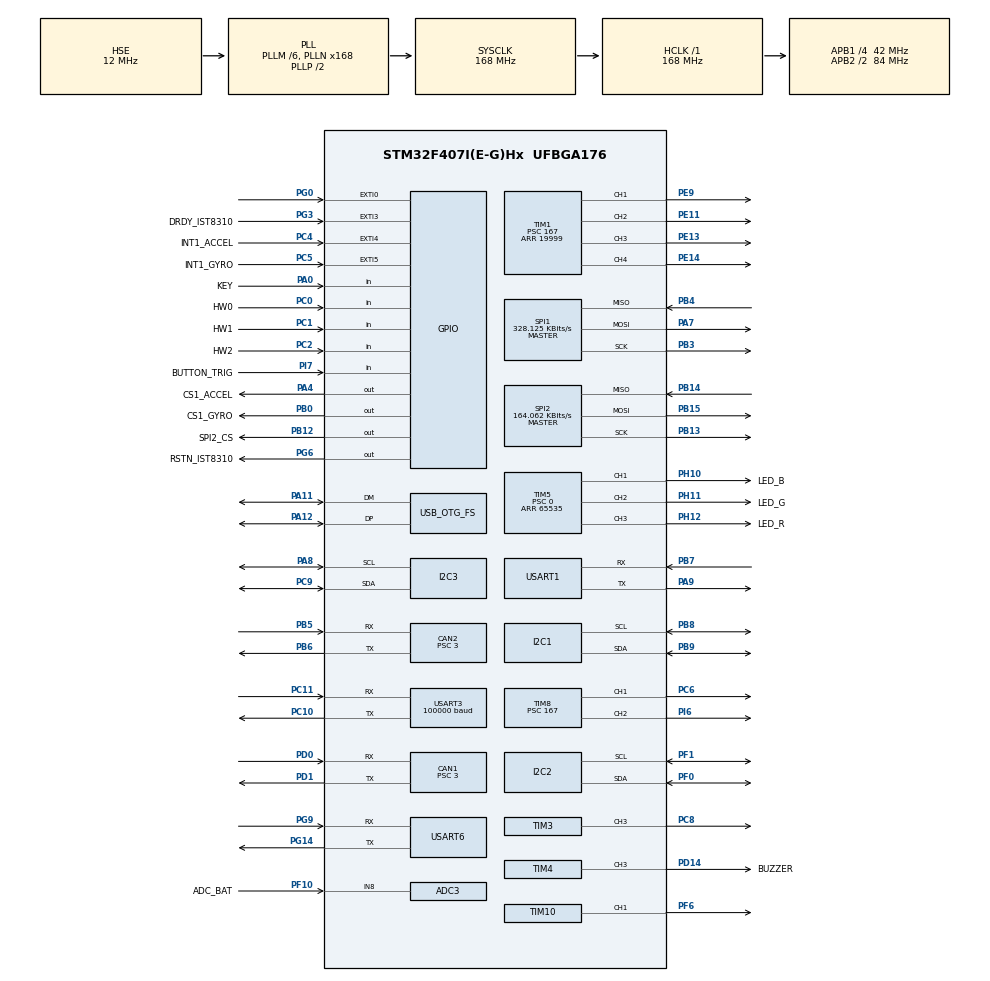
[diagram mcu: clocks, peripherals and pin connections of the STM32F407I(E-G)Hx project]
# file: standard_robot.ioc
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ADC1.Channel-0\#ChannelRegularConversion=ADC_CHANNEL_TEMPSENSOR
ADC1.ClockPrescaler=ADC_CLOCK_SYNC_PCLK_DIV6
ADC1.NbrOfConversionFlag=1
ADC1.Rank-0\#ChannelRegularConversion=1
ADC1.SamplingTime-0\#ChannelRegularConversion=ADC_SAMPLETIME_3CYCLES
ADC1.master=1
ADC3.Channel-0\#ChannelRegularConversion=ADC_CHANNEL_8
ADC3.ClockPrescaler=ADC_CLOCK_SYNC_PCLK_DIV6
ADC3.NbrOfConversionFlag=1
ADC3.Rank-0\#ChannelRegularConversion=1
ADC3.SamplingTime-0\#ChannelRegularConversion=ADC_SAMPLETIME_3CYCLES
CAN1.BS1=CAN_BS1_10TQ
CAN1.BS2=CAN_BS2_3TQ
CAN1.CalculateTimeQuantum=71.42857142857143
CAN1.Prescaler=3
CAN2.BS1=CAN_BS1_10TQ
CAN2.BS2=CAN_BS2_3TQ
CAN2.CalculateTimeQuantum=71.42857142857143
CAN2.Prescaler=3
Dma.I2C2_TX.2.Direction=DMA_MEMORY_TO_PERIPH
Dma.I2C2_TX.2.FIFOMode=DMA_FIFOMODE_DISABLE
Dma.I2C2_TX.2.Instance=DMA1_Stream7
Dma.I2C2_TX.2.MemDataAlignment=DMA_MDATAALIGN_BYTE
Dma.I2C2_TX.2.MemInc=DMA_MINC_ENABLE
Dma.I2C2_TX.2.Mode=DMA_NORMAL
Dma.I2C2_TX.2.PeriphDataAlignment=DMA_PDATAALIGN_BYTE
Dma.I2C2_TX.2.PeriphInc=DMA_PINC_DISABLE
Dma.I2C2_TX.2.Priority=DMA_PRIORITY_HIGH
Dma.Request0=SPI1_RX
Dma.Request1=SPI1_TX
Dma.Request2=I2C2_TX
Dma.Request3=USART3_RX
Dma.Request4=USART6_RX
Dma.Request5=USART6_TX
Dma.Request6=USART1_TX
Dma.Request7=USART1_RX
Dma.SPI1_RX.0.Direction=DMA_PERIPH_TO_MEMORY
Dma.SPI1_RX.0.FIFOMode=DMA_FIFOMODE_DISABLE
Dma.SPI1_RX.0.Instance=DMA2_Stream2
Dma.SPI1_RX.0.MemDataAlignment=DMA_MDATAALIGN_BYTE
Dma.SPI1_RX.0.MemInc=DMA_MINC_ENABLE
Dma.SPI1_RX.0.Mode=DMA_NORMAL
Dma.SPI1_RX.0.PeriphDataAlignment=DMA_PDATAALIGN_BYTE
Dma.SPI1_RX.0.PeriphInc=DMA_PINC_DISABLE
Dma.SPI1_RX.0.Priority=DMA_PRIORITY_VERY_HIGH
Dma.SPI1_TX.1.Direction=DMA_MEMORY_TO_PERIPH
Dma.SPI1_TX.1.FIFOMode=DMA_FIFOMODE_DISABLE
Dma.SPI1_TX.1.Instance=DMA2_Stream3
Dma.SPI1_TX.1.MemDataAlignment=DMA_MDATAALIGN_BYTE
Dma.SPI1_TX.1.MemInc=DMA_MINC_ENABLE
Dma.SPI1_TX.1.Mode=DMA_NORMAL
Dma.SPI1_TX.1.PeriphDataAlignment=DMA_PDATAALIGN_BYTE
Dma.SPI1_TX.1.PeriphInc=DMA_PINC_DISABLE
Dma.SPI1_TX.1.Priority=DMA_PRIORITY_HIGH
Dma.USART1_RX.7.Direction=DMA_PERIPH_TO_MEMORY
Dma.USART1_RX.7.FIFOMode=DMA_FIFOMODE_DISABLE
Dma.USART1_RX.7.Instance=DMA2_Stream5
Dma.USART1_RX.7.MemDataAlignment=DMA_MDATAALIGN_BYTE
Dma.USART1_RX.7.MemInc=DMA_MINC_ENABLE
Dma.USART1_RX.7.Mode=DMA_NORMAL
Dma.USART1_RX.7.PeriphDataAlignment=DMA_PDATAALIGN_BYTE
Dma.USART1_RX.7.PeriphInc=DMA_PINC_DISABLE
Dma.USART1_RX.7.Priority=DMA_PRIORITY_HIGH
Dma.USART1_TX.6.Direction=DMA_MEMORY_TO_PERIPH
Dma.USART1_TX.6.FIFOMode=DMA_FIFOMODE_DISABLE
Dma.USART1_TX.6.Instance=DMA2_Stream7
Dma.USART1_TX.6.MemDataAlignment=DMA_MDATAALIGN_BYTE
Dma.USART1_TX.6.MemInc=DMA_MINC_ENABLE
Dma.USART1_TX.6.Mode=DMA_NORMAL
Dma.USART1_TX.6.PeriphDataAlignment=DMA_PDATAALIGN_BYTE
Dma.USART1_TX.6.PeriphInc=DMA_PINC_DISABLE
Dma.USART1_TX.6.Priority=DMA_PRIORITY_MEDIUM
Dma.USART3_RX.3.Direction=DMA_PERIPH_TO_MEMORY
Dma.USART3_RX.3.FIFOMode=DMA_FIFOMODE_DISABLE
Dma.USART3_RX.3.Instance=DMA1_Stream1
Dma.USART3_RX.3.MemDataAlignment=DMA_MDATAALIGN_BYTE
Dma.USART3_RX.3.MemInc=DMA_MINC_ENABLE
Dma.USART3_RX.3.Mode=DMA_NORMAL
Dma.USART3_RX.3.PeriphDataAlignment=DMA_PDATAALIGN_BYTE
Dma.USART3_RX.3.PeriphInc=DMA_PINC_DISABLE
Dma.USART3_RX.3.Priority=DMA_PRIORITY_HIGH
Dma.USART6_RX.4.Direction=DMA_PERIPH_TO_MEMORY
Dma.USART6_RX.4.FIFOMode=DMA_FIFOMODE_DISABLE
Dma.USART6_RX.4.Instance=DMA2_Stream1
Dma.USART6_RX.4.MemDataAlignment=DMA_MDATAALIGN_BYTE
Dma.USART6_RX.4.MemInc=DMA_MINC_ENABLE
Dma.USART6_RX.4.Mode=DMA_NORMAL
Dma.USART6_RX.4.PeriphDataAlignment=DMA_PDATAALIGN_BYTE
Dma.USART6_RX.4.PeriphInc=DMA_PINC_DISABLE
Dma.USART6_RX.4.Priority=DMA_PRIORITY_HIGH
Dma.USART6_TX.5.Direction=DMA_MEMORY_TO_PERIPH
Dma.USART6_TX.5.FIFOMode=DMA_FIFOMODE_DISABLE
Dma.USART6_TX.5.Instance=DMA2_Stream6
Dma.USART6_TX.5.MemDataAlignment=DMA_MDATAALIGN_BYTE
Dma.USART6_TX.5.MemInc=DMA_MINC_ENABLE
Dma.USART6_TX.5.Mode=DMA_NORMAL
Dma.USART6_TX.5.PeriphDataAlignment=DMA_PDATAALIGN_BYTE
Dma.USART6_TX.5.PeriphInc=DMA_PINC_DISABLE
Dma.USART6_TX.5.Priority=DMA_PRIORITY_MEDIUM
FREERTOS.INCLUDE_eTaskGetState=1
FREERTOS.INCLUDE_pcTaskGetTaskName=1
FREERTOS.INCLUDE_uxTaskGetStackHighWaterMark=1
FREERTOS.INCLUDE_vTaskCleanUpResources=1
FREERTOS.INCLUDE_vTaskDelayUntil=1
FREERTOS.INCLUDE_xEventGroupSetBitFromISR=1
FREERTOS.INCLUDE_xQueueGetMutexHolder=1
FREERTOS.INCLUDE_xSemaphoreGetMutexHolder=1
FREERTOS.INCLUDE_xTaskAbortDelay=1
FREERTOS.INCLUDE_xTaskGetCurrentTaskHandle=1
FREERTOS.INCLUDE_xTaskGetHandle=1
FREERTOS.INCLUDE_xTimerPendFunctionCall=1
FREERTOS.Tasks01=test,24,128,test_task,As weak,NULL,Dynamic,NULL,NULL
FREERTOS.configTOTAL_HEAP_SIZE=24576
I2C1.I2C_Mode=I2C_Fast
I2C2.I2C_Mode=I2C_Fast
I2C3.I2C_Mode=I2C_Fast
Mcu.Family=STM32F4
Mcu.Name=STM32F407I(E-G)Hx
Mcu.Package=UFBGA176
NVIC.CAN1_RX0_IRQn=true\:6\:0\:true\:false\:true\:true\:true\:true\:true
NVIC.CAN2_RX0_IRQn=true\:6\:0\:true\:false\:true\:true\:true\:true\:true
NVIC.DMA1_Stream1_IRQn=true\:5\:0\:true\:false\:false\:true\:false\:false\:true
NVIC.DMA1_Stream7_IRQn=true\:5\:0\:true\:false\:false\:true\:false\:true\:true
NVIC.DMA2_Stream1_IRQn=true\:5\:0\:true\:false\:true\:true\:false\:true\:true
NVIC.DMA2_Stream2_IRQn=true\:5\:0\:true\:false\:false\:true\:false\:true\:true
NVIC.DMA2_Stream3_IRQn=true\:5\:0\:true\:false\:false\:true\:false\:true\:true
NVIC.DMA2_Stream5_IRQn=true\:5\:0\:false\:false\:true\:true\:false\:true\:true
NVIC.DMA2_Stream6_IRQn=true\:5\:0\:true\:false\:true\:true\:false\:true\:true
NVIC.DMA2_Stream7_IRQn=true\:5\:0\:true\:false\:true\:true\:false\:true\:true
NVIC.EXTI0_IRQn=true\:6\:0\:true\:false\:true\:true\:true\:true\:true
NVIC.EXTI3_IRQn=true\:5\:0\:true\:false\:true\:true\:true\:true\:true
NVIC.EXTI4_IRQn=true\:5\:0\:true\:false\:true\:true\:true\:true\:true
NVIC.EXTI9_5_IRQn=true\:5\:0\:true\:false\:true\:true\:true\:true\:true
NVIC.OTG_FS_IRQn=true\:5\:0\:false\:false\:true\:true\:false\:true\:true
NVIC.PriorityGroup=NVIC_PRIORITYGROUP_4
NVIC.USART1_IRQn=true\:5\:0\:false\:false\:true\:true\:true\:true\:true
NVIC.USART3_IRQn=true\:4\:0\:true\:false\:false\:false\:true\:true\:true
NVIC.USART6_IRQn=true\:5\:0\:true\:false\:false\:true\:true\:true\:true
PA0-WKUP.GPIO_Label=KEY
PA0-WKUP.GPIO_PuPd=GPIO_PULLUP
PA0-WKUP.Signal=GPIO_Input
PA11.Mode=Device_Only
PA11.Signal=USB_OTG_FS_DM
PA12.Mode=Device_Only
PA12.Signal=USB_OTG_FS_DP
PA13.Mode=Serial_Wire
PA13.Signal=SYS_JTMS-SWDIO
PA14.Mode=Serial_Wire
PA14.Signal=SYS_JTCK-SWCLK
PA4.GPIO_Label=CS1_ACCEL
PA4.GPIO_PuPd=GPIO_PULLUP
PA4.GPIO_Speed=GPIO_SPEED_FREQ_HIGH
PA4.PinState=GPIO_PIN_SET
PA4.Signal=GPIO_Output
PA7.GPIO_PuPd=GPIO_PULLUP
PA7.Mode=Full_Duplex_Master
PA7.Signal=SPI1_MOSI
PA8.Mode=I2C
PA8.Signal=I2C3_SCL
PA9.Mode=Asynchronous
PA9.Signal=USART1_TX
PB0.GPIO_Label=CS1_GYRO
PB0.GPIO_PuPd=GPIO_PULLUP
PB0.GPIO_Speed=GPIO_SPEED_FREQ_HIGH
PB0.PinState=GPIO_PIN_SET
PB0.Signal=GPIO_Output
PB12.GPIO_Label=SPI2_CS
PB12.GPIO_PuPd=GPIO_PULLUP
PB12.GPIO_Speed=GPIO_SPEED_FREQ_MEDIUM
PB12.PinState=GPIO_PIN_SET
PB12.Signal=GPIO_Output
PB13.GPIO_PuPd=GPIO_PULLUP
PB13.Mode=Full_Duplex_Master
PB13.Signal=SPI2_SCK
PB14.GPIO_PuPd=GPIO_PULLUP
PB14.Mode=Full_Duplex_Master
PB14.Signal=SPI2_MISO
PB15.GPIO_PuPd=GPIO_PULLUP
PB15.Mode=Full_Duplex_Master
PB15.Signal=SPI2_MOSI
PB3.GPIO_PuPd=GPIO_PULLUP
PB3.Mode=Full_Duplex_Master
PB3.Signal=SPI1_SCK
PB4.GPIO_PuPd=GPIO_PULLUP
PB4.Mode=Full_Duplex_Master
PB4.Signal=SPI1_MISO
PB5.Mode=Slave
PB5.Signal=CAN2_RX
PB6.Mode=Slave
PB6.Signal=CAN2_TX
PB7.Mode=Asynchronous
PB7.Signal=USART1_RX
PB8.Mode=I2C
PB8.Signal=I2C1_SCL
PB9.Mode=I2C
PB9.Signal=I2C1_SDA
PC0.GPIO_Label=HW0
PC0.Signal=GPIO_Input
PC1.GPIO_Label=HW1
PC1.Signal=GPIO_Input
PC10.Mode=Asynchronous
PC10.Signal=USART3_TX
PC11.Mode=Asynchronous
PC11.Signal=USART3_RX
PC2.GPIO_Label=HW2
PC2.Signal=GPIO_Input
PC4.GPIO_Label=INT1_ACCEL
PC4.GPIO_ModeDefaultEXTI=GPIO_MODE_IT_FALLING
PC4.GPIO_PuPd=GPIO_PULLUP
PC4.Signal=GPXTI4
PC5.GPIO_Label=INT1_GYRO
PC5.GPIO_ModeDefaultEXTI=GPIO_MODE_IT_FALLING
PC5.GPIO_PuPd=GPIO_PULLUP
PC5.Signal=GPXTI5
PC6.GPIO_PuPd=GPIO_PULLUP
PC6.GPIO_Speed=GPIO_SPEED_FREQ_HIGH
PC6.Signal=S_TIM8_CH1
PC8.GPIO_PuPd=GPIO_PULLUP
PC8.GPIO_Speed=GPIO_SPEED_FREQ_HIGH
PC8.Signal=S_TIM3_CH3
PC9.Mode=I2C
PC9.Signal=I2C3_SDA
PD0.Mode=Master
PD0.Signal=CAN1_RX
PD1.Mode=Master
PD1.Signal=CAN1_TX
PD14.GPIO_Label=BUZZER
PD14.GPIO_PuPd=GPIO_PULLUP
PD14.GPIO_Speed=GPIO_SPEED_FREQ_VERY_HIGH
PD14.Signal=S_TIM4_CH3
PE11.GPIO_PuPd=GPIO_PULLUP
PE11.GPIO_Speed=GPIO_SPEED_FREQ_HIGH
PE11.Signal=S_TIM1_CH2
PE13.GPIO_PuPd=GPIO_PULLUP
PE13.GPIO_Speed=GPIO_SPEED_FREQ_HIGH
PE13.Signal=S_TIM1_CH3
PE14.GPIO_PuPd=GPIO_PULLUP
PE14.GPIO_Speed=GPIO_SPEED_FREQ_HIGH
PE14.Signal=S_TIM1_CH4
PE9.GPIO_PuPd=GPIO_PULLUP
PE9.GPIO_Speed=GPIO_SPEED_FREQ_HIGH
PE9.Signal=S_TIM1_CH1
PF0.Mode=I2C
PF0.Signal=I2C2_SDA
PF1.Mode=I2C
PF1.Signal=I2C2_SCL
PF10.GPIO_Label=ADC_BAT
PF10.Mode=IN8
PF10.Signal=ADC3_IN8
PF6.GPIO_PuPd=GPIO_PULLUP
PF6.GPIO_Speed=GPIO_SPEED_FREQ_HIGH
PF6.Signal=S_TIM10_CH1
PG0.GPIO_ModeDefaultEXTI=GPIO_MODE_IT_FALLING
PG0.GPIO_PuPd=GPIO_PULLUP
PG0.Signal=GPXTI0
PG14.Mode=Asynchronous
PG14.Signal=USART6_TX
PG3.GPIO_Label=DRDY_IST8310
PG3.GPIO_ModeDefaultEXTI=GPIO_MODE_IT_FALLING
PG3.GPIO_PuPd=GPIO_PULLUP
PG3.Signal=GPXTI3
PG6.GPIO_Label=RSTN_IST8310
PG6.GPIO_PuPd=GPIO_PULLUP
PG6.GPIO_Speed=GPIO_SPEED_FREQ_MEDIUM
PG6.PinState=GPIO_PIN_SET
PG6.Signal=GPIO_Output
PG9.Mode=Asynchronous
PG9.Signal=USART6_RX
PH0-OSC_IN.Mode=HSE-External-Oscillator
PH0-OSC_IN.Signal=RCC_OSC_IN
PH1-OSC_OUT.Mode=HSE-External-Oscillator
PH1-OSC_OUT.Signal=RCC_OSC_OUT
PH10.GPIO_Label=LED_B
PH10.GPIO_PuPd=GPIO_PULLUP
PH10.GPIO_Speed=GPIO_SPEED_FREQ_HIGH
PH10.Signal=S_TIM5_CH1
PH11.GPIO_Label=LED_G
PH11.GPIO_PuPd=GPIO_PULLUP
PH11.GPIO_Speed=GPIO_SPEED_FREQ_HIGH
PH11.Signal=S_TIM5_CH2
PH12.GPIO_Label=LED_R
PH12.GPIO_PuPd=GPIO_PULLUP
PH12.GPIO_Speed=GPIO_SPEED_FREQ_HIGH
PH12.Signal=S_TIM5_CH3
PI6.GPIO_PuPd=GPIO_PULLUP
PI6.GPIO_Speed=GPIO_SPEED_FREQ_HIGH
PI6.Signal=S_TIM8_CH2
PI7.GPIO_Label=BUTTON_TRIG
PI7.GPIO_PuPd=GPIO_PULLUP
PI7.Signal=GPIO_Input
ProjectManager.HeapSize=0x2000
ProjectManager.StackSize=0x2000
ProjectManager.TargetToolchain=MDK-ARM V5.32
RCC.48MHZClocksFreq_Value=48000000
RCC.AHBFreq_Value=168000000
RCC.APB1CLKDivider=RCC_HCLK_DIV4
RCC.APB1Freq_Value=42000000
RCC.APB1TimFreq_Value=84000000
RCC.APB2CLKDivider=RCC_HCLK_DIV2
RCC.APB2Freq_Value=84000000
RCC.APB2TimFreq_Value=168000000
RCC.CortexFreq_Value=168000000
RCC.HCLKFreq_Value=168000000
RCC.HSE_VALUE=12000000
RCC.HSI_VALUE=16000000
RCC.LSE_VALUE=32768
RCC.PLLM=6
RCC.PLLN=168
RCC.PLLQ=7
RCC.RCC_RTC_Clock_SourceVirtual=RCC_RTCCLKSOURCE_HSE_DIV30
RCC.RCC_RTC_Clock_Source_FROM_HSE=RCC_RTCCLKSOURCE_HSE_DIV30
RCC.SYSCLKFreq_VALUE=168000000
RCC.SYSCLKSource=RCC_SYSCLKSOURCE_PLLCLK
RCC.VCOOutputFreq_Value=336000000
RTC.AsynchPrediv=124
RTC.SynchPrediv=3199
SH.S_TIM10_CH1.0=TIM10_CH1,PWM Generation1 CH1
SH.S_TIM1_CH1.0=TIM1_CH1,PWM Generation1 CH1
SH.S_TIM1_CH2.0=TIM1_CH2,PWM Generation2 CH2
SH.S_TIM1_CH3.0=TIM1_CH3,PWM Generation3 CH3
SH.S_TIM1_CH4.0=TIM1_CH4,PWM Generation4 CH4
SH.S_TIM3_CH3.0=TIM3_CH3,PWM Generation3 CH3
SH.S_TIM4_CH3.0=TIM4_CH3,PWM Generation3 CH3
SH.S_TIM5_CH1.0=TIM5_CH1,PWM Generation1 CH1
SH.S_TIM5_CH2.0=TIM5_CH2,PWM Generation2 CH2
SH.S_TIM5_CH3.0=TIM5_CH3,PWM Generation3 CH3
SH.S_TIM8_CH1.0=TIM8_CH1,PWM Generation1 CH1
SH.S_TIM8_CH2.0=TIM8_CH2,PWM Generation2 CH2
SPI1.BaudRatePrescaler=SPI_BAUDRATEPRESCALER_256
SPI1.CLKPhase=SPI_PHASE_2EDGE
SPI1.CLKPolarity=SPI_POLARITY_HIGH
SPI1.CalculateBaudRate=328.125 KBits/s
SPI1.Direction=SPI_DIRECTION_2LINES
SPI1.Mode=SPI_MODE_MASTER
SPI1.VirtualType=VM_MASTER
SPI2.BaudRatePrescaler=SPI_BAUDRATEPRESCALER_256
SPI2.CLKPhase=SPI_PHASE_2EDGE
SPI2.CLKPolarity=SPI_POLARITY_HIGH
SPI2.CalculateBaudRate=164.062 KBits/s
SPI2.Direction=SPI_DIRECTION_2LINES
SPI2.Mode=SPI_MODE_MASTER
SPI2.VirtualType=VM_MASTER
TIM1.Channel-PWM\ Generation1\ CH1=TIM_CHANNEL_1
TIM1.Channel-PWM\ Generation2\ CH2=TIM_CHANNEL_2
TIM1.Channel-PWM\ Generation3\ CH3=TIM_CHANNEL_3
TIM1.Channel-PWM\ Generation4\ CH4=TIM_CHANNEL_4
TIM1.Period=19999
TIM1.Prescaler=167
TIM1.Pulse-PWM\ Generation1\ CH1=1000
TIM1.Pulse-PWM\ Generation2\ CH2=1000
TIM1.Pulse-PWM\ Generation3\ CH3=1000
TIM1.Pulse-PWM\ Generation4\ CH4=1000
TIM10.Channel=TIM_CHANNEL_1
TIM10.Period=4999
TIM3.Channel-PWM\ Generation3\ CH3=TIM_CHANNEL_3
TIM3.Period=8399
TIM4.Channel-PWM\ Generation3\ CH3=TIM_CHANNEL_3
TIM4.Period=65535
TIM4.Prescaler=167
TIM5.Channel-PWM\ Generation1\ CH1=TIM_CHANNEL_1
TIM5.Channel-PWM\ Generation2\ CH2=TIM_CHANNEL_2
TIM5.Channel-PWM\ Generation3\ CH3=TIM_CHANNEL_3
TIM5.Period=65535
TIM5.Prescaler=0
TIM8.Channel-PWM\ Generation1\ CH1=TIM_CHANNEL_1
TIM8.Channel-PWM\ Generation2\ CH2=TIM_CHANNEL_2
TIM8.Period=19999
TIM8.Prescaler=167
TIM8.Pulse-PWM\ Generation1\ CH1=1000
TIM8.Pulse-PWM\ Generation2\ CH2=1000
USART1.VirtualMode=VM_ASYNC
USART3.BaudRate=100000
USART3.Parity=PARITY_EVEN
USART3.VirtualMode=VM_ASYNC
USART6.VirtualMode=VM_ASYNC
USB_DEVICE.CLASS_NAME_FS=CDC
USB_DEVICE.VirtualMode-CDC_FS=Cdc
USB_DEVICE.VirtualModeFS=Cdc_FS
USB_OTG_FS.VirtualMode=Device_Only
VP_ADC1_TempSens_Input.Mode=IN-TempSens
VP_ADC1_Vref_Input.Mode=IN-Vrefint
VP_CRC_VS_CRC.Mode=CRC_Activate
VP_FREERTOS_VS_CMSIS_V1.Mode=CMSIS_V1
VP_RNG_VS_RNG.Mode=RNG_Activate
VP_RTC_VS_RTC_Activate.Mode=RTC_Enabled
VP_TIM10_VS_ClockSourceINT.Mode=Enable_Timer
VP_TIM1_VS_ClockSourceINT.Mode=Internal
VP_TIM3_VS_ClockSourceINT.Mode=Internal
VP_TIM4_VS_ClockSourceINT.Mode=Internal
VP_TIM5_VS_ClockSourceINT.Mode=Internal
VP_TIM8_VS_ClockSourceINT.Mode=Internal
VP_USB_DEVICE_VS_USB_DEVICE_CDC_FS.Mode=CDC_FS
board=custom

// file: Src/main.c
/* USER CODE BEGIN Header */
/**
 ******************************************************************************
 * @file           : main.c
 * @brief          : Main program body
 ******************************************************************************
 * @attention
 *
 * <h2><center>&copy; Copyright (c) 2019 STMicroelectronics.
 * All rights reserved.</center></h2>
 *
 * This software component is licensed by ST under Ultimate Liberty license
 * SLA0044, the "License"; You may not use this file except in compliance with
 * the License. You may obtain a copy of the License at:
 *                             www.st.com/SLA0044
 *
 ******************************************************************************
 */
/* USER CODE END Header */

#include "main.h"
#include "cmsis_os.h"
#include "adc.h"
#include "can.h"
#include "crc.h"
#include "dma.h"
#include "i2c.h"
#include "rng.h"
#include "rtc.h"
#include "spi.h"
#include "tim.h"
#include "usart.h"
#include "usb_device.h"
#include "gpio.h"

/* USER CODE BEGIN Includes */
#include "bsp_can.h"
#include "bsp_delay.h"
#include "bsp_usart.h"
#include "remote_control.h"

#include "chassis_task.h"
#include "detect_task.h"
#include "gimbal_task.h"
#include "INS_task.h"
#include "led_flow_task.h"
#include "oled_task.h"
#include "referee_usart_task.h"
#include "voltage_task.h"
#include "stm32.h"
#include "stm32_private.h"
#include "BMI088driver.h"
#include "bsp_dwt.h"
/* USER CODE END Includes */

/* USER CODE BEGIN PV */

uint8_t arxbuffer[24];

/* USER CODE END PV */

void SystemClock_Config(void);
void MX_FREERTOS_Init(void);

int main(void)
{

  /* MCU Configuration--------------------------------------------------------*/

  /* Reset of all peripherals, Initializes the Flash interface and the Systick. */
  HAL_Init();

  /* Configure the system clock */
  SystemClock_Config();

  /* Initialize all configured peripherals */
  MX_GPIO_Init();
  MX_DMA_Init();
  MX_ADC1_Init();
  MX_ADC3_Init();
  MX_CAN1_Init();
  MX_CAN2_Init();
  MX_I2C1_Init();
  MX_SPI1_Init();
  MX_TIM4_Init();
  MX_TIM5_Init();
  MX_USART3_UART_Init();
  MX_TIM8_Init();
  MX_CRC_Init();
  MX_RNG_Init();
  MX_I2C2_Init();
  MX_I2C3_Init();
  MX_RTC_Init();
  MX_SPI2_Init();
  MX_TIM1_Init();
  MX_TIM3_Init();
  MX_TIM10_Init();
  MX_USART1_UART_Init();
  MX_USART6_UART_Init();
  /* USER CODE BEGIN 2 */
  MX_USB_DEVICE_Init();
  can_filter_init();
  delay_init();
  remote_control_init();

  DWT_Init(168);
  while (BMI088_init(&hspi1, 0) != BMI088_NO_ERROR)
  {
      ;
    }
  /* USER CODE END 2 */

  /* Call init function for freertos objects (in freertos.c) */
  MX_FREERTOS_Init();

  /* Start scheduler */
  osKernelStart();

  /* We should never get here as control is now taken by the scheduler */

  /* Infinite loop */
    while (1)
    {

    }
}

void SystemClock_Config(void)
{
  RCC_OscInitTypeDef RCC_OscInitStruct = {0};
  RCC_ClkInitTypeDef RCC_ClkInitStruct = {0};
  RCC_PeriphCLKInitTypeDef PeriphClkInitStruct = {0};

  /** Configure the main internal regulator output voltage
  */
  __HAL_RCC_PWR_CLK_ENABLE();
  __HAL_PWR_VOLTAGESCALING_CONFIG(PWR_REGULATOR_VOLTAGE_SCALE1);
  /** Initializes the CPU, AHB and APB busses clocks
  */
  RCC_OscInitStruct.OscillatorType = RCC_OSCILLATORTYPE_HSE;
  RCC_OscInitStruct.HSEState = RCC_HSE_ON;
  RCC_OscInitStruct.PLL.PLLState = RCC_PLL_ON;
  RCC_OscInitStruct.PLL.PLLSource = RCC_PLLSOURCE_HSE;
  RCC_OscInitStruct.PLL.PLLM = 6;
  RCC_OscInitStruct.PLL.PLLN = 168;
  RCC_OscInitStruct.PLL.PLLP = RCC_PLLP_DIV2;
  RCC_OscInitStruct.PLL.PLLQ = 7;
  if (HAL_RCC_OscConfig(&RCC_OscInitStruct) != HAL_OK)
  {
    Error_Handler();
  }
  /** Initializes the CPU, AHB and APB busses clocks
  */
  RCC_ClkInitStruct.ClockType = RCC_CLOCKTYPE_HCLK|RCC_CLOCKTYPE_SYSCLK
                              |RCC_CLOCKTYPE_PCLK1|RCC_CLOCKTYPE_PCLK2;
  RCC_ClkInitStruct.SYSCLKSource = RCC_SYSCLKSOURCE_PLLCLK;
  RCC_ClkInitStruct.AHBCLKDivider = RCC_SYSCLK_DIV1;
  RCC_ClkInitStruct.APB1CLKDivider = RCC_HCLK_DIV4;
  RCC_ClkInitStruct.APB2CLKDivider = RCC_HCLK_DIV2;

  if (HAL_RCC_ClockConfig(&RCC_ClkInitStruct, FLASH_LATENCY_5) != HAL_OK)
  {
    Error_Handler();
  }
  PeriphClkInitStruct.PeriphClockSelection = RCC_PERIPHCLK_RTC;
  PeriphClkInitStruct.RTCClockSelection = RCC_RTCCLKSOURCE_HSE_DIV30;
  if (HAL_RCCEx_PeriphCLKConfig(&PeriphClkInitStruct) != HAL_OK)
  {
    Error_Handler();
  }
}

void Error_Handler(void)
{
}

/************************ (C) COPYRIGHT STMicroelectronics *****END OF FILE****/

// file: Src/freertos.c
/* USER CODE BEGIN Header */
/**
  ******************************************************************************
  * File Name          : freertos.c
  * Description        : Code for freertos applications
  ******************************************************************************
  * @attention
  *
  * <h2><center>&copy; Copyright (c) 2019 STMicroelectronics.
  * All rights reserved.</center></h2>
  *
  * This software component is licensed by ST under Ultimate Liberty license
  * SLA0044, the "License"; You may not use this file except in compliance with
  * the License. You may obtain a copy of the License at:
  *                             www.st.com/SLA0044
  *
  ******************************************************************************
  */
/* USER CODE END Header */

#include "FreeRTOS.h"
#include "task.h"
#include "main.h"
#include "cmsis_os.h"

/* USER CODE BEGIN Includes */

#include "chassis_task.h"
#include "detect_task.h"
#include "gimbal_task.h"
#include "ins_task.h"
#include "shoot_task.h"
#include "led_flow_task.h"
#include "oled_task.h"
#include "referee_usart_task.h"
#include "voltage_task.h"
#include "vision_task.h"
/* USER CODE END Includes */

/* USER CODE BEGIN PTD */
osThreadId chassisTaskHandle;
osThreadId detect_handle;
osThreadId gimbalTaskHandle;
// osThreadId imuTaskHandle;
osThreadId led_RGB_flow_handle;
osThreadId oled_handle;
osThreadId referee_usart_task_handle;
osThreadId battery_voltage_handle;
osThreadId shoot_task_handle;
osThreadId vision_task_handle;
osThreadId INSTaskHandle;
/* USER CODE END PTD */

osThreadId testHandle;

/* USER CODE BEGIN FunctionPrototypes */

void StartINSTask(void const * argument);
/* USER CODE END FunctionPrototypes */

void test_task(void const * argument);

extern void MX_USB_DEVICE_Init(void);
void MX_FREERTOS_Init(void); /* (MISRA C 2004 rule 8.1) */

/* GetIdleTaskMemory prototype (linked to static allocation support) */
void vApplicationGetIdleTaskMemory( StaticTask_t **ppxIdleTaskTCBBuffer, StackType_t **ppxIdleTaskStackBuffer, uint32_t *pulIdleTaskStackSize );

/* GetTimerTaskMemory prototype (linked to static allocation support) */
void vApplicationGetTimerTaskMemory( StaticTask_t **ppxTimerTaskTCBBuffer, StackType_t **ppxTimerTaskStackBuffer, uint32_t *pulTimerTaskStackSize );

/* USER CODE BEGIN GET_IDLE_TASK_MEMORY */
static StaticTask_t xIdleTaskTCBBuffer;
static StackType_t xIdleStack[configMINIMAL_STACK_SIZE];

void vApplicationGetIdleTaskMemory( StaticTask_t **ppxIdleTaskTCBBuffer, StackType_t **ppxIdleTaskStackBuffer, uint32_t *pulIdleTaskStackSize )
{
  *ppxIdleTaskTCBBuffer = &xIdleTaskTCBBuffer;
  *ppxIdleTaskStackBuffer = &xIdleStack[0];
  *pulIdleTaskStackSize = configMINIMAL_STACK_SIZE;
  /* place for user code */
}
/* USER CODE END GET_IDLE_TASK_MEMORY */

/* USER CODE BEGIN GET_TIMER_TASK_MEMORY */
static StaticTask_t xTimerTaskTCBBuffer;
static StackType_t xTimerStack[configTIMER_TASK_STACK_DEPTH];

void vApplicationGetTimerTaskMemory( StaticTask_t **ppxTimerTaskTCBBuffer, StackType_t **ppxTimerTaskStackBuffer, uint32_t *pulTimerTaskStackSize )
{
  *ppxTimerTaskTCBBuffer = &xTimerTaskTCBBuffer;
  *ppxTimerTaskStackBuffer = &xTimerStack[0];
  *pulTimerTaskStackSize = configTIMER_TASK_STACK_DEPTH;
  /* place for user code */
}
/* USER CODE END GET_TIMER_TASK_MEMORY */

void MX_FREERTOS_Init(void) {

  /* Create the thread(s) */
  /* definition and creation of test */
  osThreadDef(test, test_task, osPriorityNormal, 0, 128);
  testHandle = osThreadCreate(osThread(test), NULL);

  /* USER CODE BEGIN RTOS_THREADS */
  /* add threads, ... */
    osThreadDef(ChassisTask, chassis_task, osPriorityAboveNormal, 0, 512);
    chassisTaskHandle = osThreadCreate(osThread(ChassisTask), NULL);

    osThreadDef(DETECT, detect_task, osPriorityNormal, 0, 256);
    detect_handle = osThreadCreate(osThread(DETECT), NULL);

    osThreadDef(gimbalTask, gimbal_task, osPriorityHigh, 0, 512);
    gimbalTaskHandle = osThreadCreate(osThread(gimbalTask), NULL);

    // osThreadDef(imuTask, INS_Task, osPriorityRealtime, 0, 1024);
    // imuTaskHandle = osThreadCreate(osThread(imuTask), NULL);
    osThreadDef(INSTask, StartINSTask, osPriorityNormal, 0, 1024);
    INSTaskHandle = osThreadCreate(osThread(INSTask), NULL);

    osThreadDef(led, led_RGB_flow_task, osPriorityNormal, 0, 256);
    led_RGB_flow_handle = osThreadCreate(osThread(led), NULL);

    osThreadDef(OLED, oled_task, osPriorityLow, 0, 256);
    oled_handle = osThreadCreate(osThread(OLED), NULL);

    osThreadDef(REFEREE, referee_usart_task, osPriorityNormal, 0, 128);
    referee_usart_task_handle = osThreadCreate(osThread(REFEREE), NULL);

    osThreadDef(BATTERY_VOLTAGE, battery_voltage_task, osPriorityNormal, 0, 128);
    battery_voltage_handle = osThreadCreate(osThread(BATTERY_VOLTAGE), NULL);

    osThreadDef(SHOOT, shoot_task, osPriorityNormal, 0, 512);
    shoot_task_handle = osThreadCreate(osThread(SHOOT), NULL);

    osThreadDef(VISION, vision_task, osPriorityNormal, 0, 512);
    vision_task_handle = osThreadCreate(osThread(VISION), NULL);

  /* USER CODE END RTOS_THREADS */

}

__weak void test_task(void const * argument)
{
  /* init code for USB_DEVICE */
  MX_USB_DEVICE_Init();

  for(;;)
  {
    osDelay(1);
  }
}

/* USER CODE BEGIN Application */

void StartINSTask(void const * argument)
{
  /* USER CODE BEGIN StartINSTask */
    INS_Init();
    /* Infinite loop */
    for (;;)
    {
        INS_Task();
        osDelay(1);
    }
  /* USER CODE END StartINSTask */
}
/* USER CODE END Application */

/************************ (C) COPYRIGHT STMicroelectronics *****END OF FILE****/
